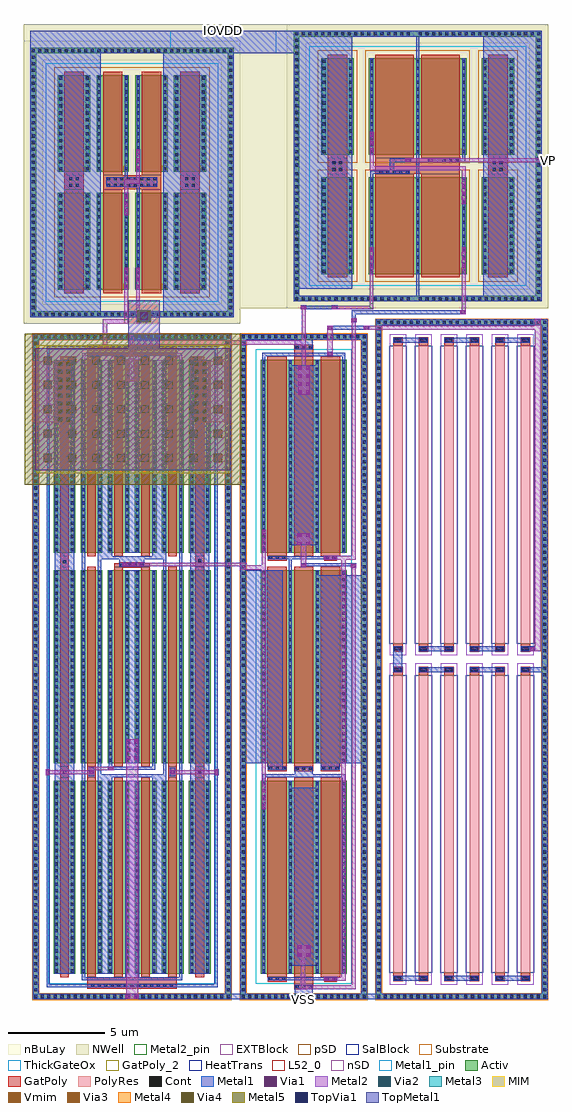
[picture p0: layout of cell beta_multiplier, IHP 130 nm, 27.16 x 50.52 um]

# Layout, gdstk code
from math import pi, radians
import gdstk
lib = gdstk.Library(unit=1e-6, precision=1e-09)
def R(c, l, rs):  # rectangles x0, y0, x1, y1
    for r in rs: c.add(gdstk.rectangle(r[:2], r[2:], *l))
def A(c, l, x, y, w, h, nx, ny, dx, dy):  # array of equal rectangles
    R(c, l, [(x+i*dx, y+j*dy, x+i*dx+w, y+j*dy+h) for i in range(nx) for j in range(ny)])
def P(c, l, *ps):  # polygons
    for p in ps: c.add(gdstk.Polygon(p, *l))
Activ = (1, 0)
GatPoly = (5, 0)
GatPoly_2 = (5, 2)
Cont = (6, 0)
nSD = (7, 0)
Metal1 = (8, 0)
Metal1_pin = (8, 2)
Metal2 = (10, 0)
Metal2_pin = (10, 2)
pSD = (14, 0)
Via1 = (19, 0)
SalBlock = (28, 0)
Via2 = (29, 0)
Metal3 = (30, 0)
NWell = (31, 0)
nBuLay = (32, 0)
MIM = (36, 0)
Substrate = (40, 0)
ThickGateOx = (44, 0)
Via3 = (49, 0)
Metal4 = (50, 0)
HeatTrans = (51, 0)
L52_0 = (52, 0)
Via4 = (66, 0)
Metal5 = (67, 0)
EXTBlock = (111, 0)
TopVia1 = (125, 0)
TopMetal1 = (126, 0)
PolyRes = (128, 0)
Vmim = (129, 0)

nmoshv_13 = lib.new_cell('nmosHV$13')
A(nmoshv_13, Activ, 0, 0, 0.3, 0.3, 4, 1, 1.38, 0)
R(nmoshv_13, Activ, [(0,0,4.44,10)])
A(nmoshv_13, GatPoly, 0.34, -0.18, 1, 10.36, 3, 1, 1.38, 0)
R(nmoshv_13, GatPoly_2, [(0.34,-0.18,1.34,10.18)])
A(nmoshv_13, Cont, 0.07, 0.07, 0.16, 0.16, 4, 4, 1.38, 0.345)
A(nmoshv_13, Cont, 0.07, 1.455, 0.16, 0.16, 4, 3, 1.38, 0.345)
A(nmoshv_13, Cont, 0.07, 2.495, 0.16, 0.16, 4, 4, 1.38, 0.345)
A(nmoshv_13, Cont, 0.07, 3.88, 0.16, 0.16, 4, 3, 1.38, 0.345)
A(nmoshv_13, Cont, 0.07, 4.92, 0.16, 0.16, 4, 4, 1.38, 0.345)
A(nmoshv_13, Cont, 0.07, 6.305, 0.16, 0.16, 4, 3, 1.38, 0.345)
A(nmoshv_13, Cont, 0.07, 7.345, 0.16, 0.16, 4, 4, 1.38, 0.345)
A(nmoshv_13, Cont, 0.07, 8.73, 0.16, 0.16, 4, 3, 1.38, 0.345)
A(nmoshv_13, Cont, 0.07, 9.77, 0.16, 0.16, 4, 1, 1.38, 0)
A(nmoshv_13, Metal1, 0.07, 0, 0.16, 10, 4, 1, 1.38, 0)
R(nmoshv_13, Metal1_pin, [(0.07,0,0.23,10), (1.45,0,1.61,10)])
R(nmoshv_13, ThickGateOx, [(-0.27,-0.52,4.71,10.52)])
A(nmoshv_13, HeatTrans, 0.34, -0.18, 1, 10.36, 3, 1, 1.38, 0)
nmoshv_13.add(gdstk.Label('nmosHV', (0.84,5), layer=63, texttype=0))
nmoshv_13.add(gdstk.Label('nmosHV', (0.84,5), layer=51, texttype=0))
nmoshv_13.add(gdstk.Label('nmosHV', (2.22,5), layer=51, texttype=0))
nmoshv_13.add(gdstk.Label('nmosHV', (3.6,5), layer=51, texttype=0))

guard_ring_26 = lib.new_cell('guard_ring$26')
R(guard_ring_26, Activ, [(-3.29,-16.92,-2.99,16.92), (2.99,-16.92,3.29,16.92), (-3.29,16.92,3.29,17.22)])
P(guard_ring_26, Activ, [(-3.29,-17.22),(-3.29,16.92),(-2.99,16.92),(-2.99,-16.92),(2.99,-16.92),(2.99,16.92),(-3.29,16.92),(-3.29,17.22),(3.29,17.22),(3.29,-17.22)])
A(guard_ring_26, Cont, -3.22, -17.15, 0.16, 0.16, 9, 2, 0.34, 34.14)
A(guard_ring_26, Cont, 0, -17.15, 0.16, 0.16, 10, 2, 0.34, 34.14)
A(guard_ring_26, Cont, -3.22, -16.81, 0.16, 0.16, 1, 49, 0, 0.34)
A(guard_ring_26, Cont, 3.06, -16.81, 0.16, 0.16, 1, 49, 0, 0.34)
A(guard_ring_26, Cont, -3.22, -0.01, 0.16, 0.16, 1, 50, 0, 0.34)
A(guard_ring_26, Cont, 3.06, -0.01, 0.16, 0.16, 1, 50, 0, 0.34)
R(guard_ring_26, Metal1, [(-3.29,-17.22,3.29,-16.92), (-3.29,-16.92,-2.99,16.92), (2.99,-16.92,3.29,16.92), (-3.29,16.92,3.29,17.22)])
R(guard_ring_26, pSD, [(-3.32,-16.89,-2.96,16.89), (2.96,-16.89,3.32,16.89), (-3.32,16.89,3.32,17.25)])
P(guard_ring_26, pSD, [(-3.32,-17.25),(-3.32,16.89),(-2.96,16.89),(-2.96,-16.89),(2.96,-16.89),(2.96,16.89),(-3.32,16.89),(-3.32,17.25),(3.32,17.25),(3.32,-17.25)])
R(guard_ring_26, Substrate, [(-3.32,-16.89,-2.96,16.89), (2.96,-16.89,3.32,16.89), (-3.32,16.89,3.32,17.25)])
P(guard_ring_26, Substrate, [(-3.32,-17.25),(-3.32,16.89),(-2.96,16.89),(-2.96,-16.89),(2.96,-16.89),(2.96,16.89),(-3.32,16.89),(-3.32,17.25),(3.32,17.25),(3.32,-17.25)])
guard_ring_26.add(gdstk.Label('sub!', (0,-17.07), layer=63, texttype=0))

via_stack_56 = lib.new_cell('via_stack$56')
R(via_stack_56, GatPoly, [(-0.49,-0.15,0.49,0.15)])
A(via_stack_56, Cont, -0.42, -0.08, 0.16, 0.16, 3, 1, 0.34, 0)
R(via_stack_56, Metal1, [(-0.47,-0.08,0.47,0.08)])

via_stack_38 = lib.new_cell('via_stack$38')
R(via_stack_38, GatPoly, [(-0.32,-0.15,0.32,0.15)])
R(via_stack_38, Cont, [(-0.25,-0.08,-0.09,0.08), (0.09,-0.08,0.25,0.08)])
R(via_stack_38, Metal1, [(-0.35,-0.105,0.35,0.105)])
R(via_stack_38, Metal2, [(-0.35,-0.1,0.35,0.1)])
R(via_stack_38, Via1, [(-0.3,-0.095,-0.11,0.095), (0.11,-0.095,0.3,0.095)])

via_stack = lib.new_cell('via_stack')
R(via_stack, Metal1, [(-0.105,-0.555,0.105,0.555)])
R(via_stack, Metal2, [(-0.1,-0.555,0.1,0.555)])
A(via_stack, Via1, -0.095, -0.505, 0.19, 0.19, 1, 3, 0, 0.41)

via_stack_3 = lib.new_cell('via_stack$3')
R(via_stack_3, Metal1, [(-0.145,-0.105,0.145,0.105)])
R(via_stack_3, Metal2, [(-0.145,-0.1,0.145,0.1)])
R(via_stack_3, Via1, [(-0.095,-0.095,0.095,0.095)])

via_stack_21 = lib.new_cell('via_stack$21')
R(via_stack_21, Metal1, [(-0.35,-0.31,0.35,0.31)])
R(via_stack_21, Metal2, [(-0.35,-0.305,0.35,0.305)])
R(via_stack_21, Via1, [(-0.3,-0.3,-0.11,-0.11), (0.11,-0.3,0.3,-0.11), (-0.3,0.11,-0.11,0.3), (0.11,0.11,0.3,0.3)])

via_stack_60 = lib.new_cell('via_stack$60')
R(via_stack_60, Metal1, [(-0.31,-0.76,0.31,0.76)])
R(via_stack_60, Metal2, [(-0.305,-0.76,0.305,0.76)])
A(via_stack_60, Via1, -0.3, -0.71, 0.19, 0.19, 1, 4, 0, 0.41)
A(via_stack_60, Via1, 0.11, -0.71, 0.19, 0.19, 1, 4, 0, 0.41)

beta_multiplier_referanc = lib.new_cell('beta_multiplier_referances')
R(beta_multiplier_referanc, GatPoly, [(-0.5,-16.695,0.5,-15.96), (-0.5,15.93,0.5,16.665)])
R(beta_multiplier_referanc, Metal1, [(-0.47,-17.25,0.47,-16.465), (-1.54,-16.24,1.2,-16.08), (-0.77,-15.485,0.77,-6.275), (-2.15,-6.235,-1.99,-5.57), (1.99,-6.235,2.15,-5.57), (-2.15,-5.72,2.15,-5.56), (-0.47,-5.72,0.47,-5.18), (-1.85,-5.34,-1.095,-4.755), (0.88,-5.34,1.87,-4.865), (-3.29,-5,-1.095,5), (0.61,-5,3.29,4.73), (-0.77,4.795,-0.61,5.72), (-0.15,5.19,2.725,5.35), (-1.54,5.56,1.2,5.72), (-0.77,6.285,0.77,15.61), (-2.15,15.565,-1.99,16.23), (1.99,15.565,2.15,16.23), (-2.15,16.08,2.15,16.24), (-0.47,16.435,0.47,17.22)])
R(beta_multiplier_referanc, Metal1_pin, [(-1.3,-17.22,1.29,-16.92)])
R(beta_multiplier_referanc, Metal2, [(-0.155,-16.7,2.705,-16.495), (-0.155,-16.7,0.07,-14.65), (2.475,-16.7,2.705,5.32), (1.45,-16.26,2.185,-16.06), (1.955,-16.26,2.185,5.74), (-2.17,-6.63,-1.97,6.74), (-3.32,5.02,-1.97,5.255), (-0.15,5.145,0.14,6.615), (1.56,5.54,2.695,5.74), (2.495,5.56,2.695,17.25), (-0.115,15.365,0.105,17.25)])
R(beta_multiplier_referanc, Metal2_pin, [(-3.32,5.02,-2.99,5.255), (2.495,17.04,2.695,17.25), (-0.115,17.045,0.105,17.25)])
r = gdstk.Reference(nmoshv_13, (-2.22,-15.9)); r.repetition = gdstk.Repetition(1, 3, v1=(0,0), v2=(0,10.9)); beta_multiplier_referanc.add(r)
beta_multiplier_referanc.add(gdstk.Reference(guard_ring_26, (0,0)))
beta_multiplier_referanc.add(gdstk.Reference(via_stack_56, (-1.38,5.64)))
beta_multiplier_referanc.add(gdstk.Reference(via_stack_38, (1.38,-16.16)))
beta_multiplier_referanc.add(gdstk.Reference(via_stack_56, (-1.38,-16.16)))
beta_multiplier_referanc.add(gdstk.Reference(via_stack_56, (0,-5.26)))
beta_multiplier_referanc.add(gdstk.Reference(via_stack_56, (1.38,-5.26)))
beta_multiplier_referanc.add(gdstk.Reference(via_stack_56, (-1.38,-5.26)))
beta_multiplier_referanc.add(gdstk.Reference(via_stack_56, (0,-16.545)))
beta_multiplier_referanc.add(gdstk.Reference(via_stack_56, (0,16.515), x_reflection=True))
beta_multiplier_referanc.add(gdstk.Reference(via_stack, (-2.07,6.545)))
beta_multiplier_referanc.add(gdstk.Reference(via_stack, (-2.07,-6.82)))
beta_multiplier_referanc.add(gdstk.Reference(via_stack_3, (2.58,5.225)))
beta_multiplier_referanc.add(gdstk.Reference(via_stack_3, (-0.005,5.245)))
beta_multiplier_referanc.add(gdstk.Reference(via_stack_21, (-0.005,6.59)))
beta_multiplier_referanc.add(gdstk.Reference(via_stack_21, (0.02,-14.705)))
beta_multiplier_referanc.add(gdstk.Reference(via_stack_38, (1.38,5.64)))
beta_multiplier_referanc.add(gdstk.Reference(via_stack_60, (-0.005,14.845)))
beta_multiplier_referanc.add(gdstk.Label('VSS', (0,-17.22), layer=8, texttype=2))
beta_multiplier_referanc.add(gdstk.Label('VR', (-3.32,5.138), layer=10, texttype=2))
beta_multiplier_referanc.add(gdstk.Label('VN', (2.595,17.25), layer=10, texttype=2))
beta_multiplier_referanc.add(gdstk.Label('VP', (0,17.25), layer=10, texttype=2))

pmoshv_7 = lib.new_cell('pmosHV$7')
R(pmoshv_7, Activ, [(0,0,0.3,0.3), (0,0,1.68,5), (1.38,0,1.68,0.3)])
R(pmoshv_7, GatPoly, [(0.34,-0.18,1.34,5.18)])
R(pmoshv_7, GatPoly_2, [(0.34,-0.18,1.34,5.18)])
A(pmoshv_7, Cont, 0.07, 0.07, 0.16, 0.16, 1, 4, 0, 0.36)
A(pmoshv_7, Cont, 1.45, 0.07, 0.16, 0.16, 1, 4, 0, 0.36)
A(pmoshv_7, Cont, 0.07, 1.515, 0.16, 0.16, 1, 3, 0, 0.36)
A(pmoshv_7, Cont, 1.45, 1.515, 0.16, 0.16, 1, 3, 0, 0.36)
A(pmoshv_7, Cont, 0.07, 2.6, 0.16, 0.16, 1, 3, 0, 0.36)
A(pmoshv_7, Cont, 1.45, 2.6, 0.16, 0.16, 1, 3, 0, 0.36)
A(pmoshv_7, Cont, 0.07, 3.685, 0.16, 0.16, 1, 3, 0, 0.36)
A(pmoshv_7, Cont, 1.45, 3.685, 0.16, 0.16, 1, 3, 0, 0.36)
R(pmoshv_7, Cont, [(0.07,4.77,0.23,4.93), (1.45,4.77,1.61,4.93)])
R(pmoshv_7, Metal1, [(0.07,0,0.23,5), (1.45,0,1.61,5)])
R(pmoshv_7, Metal1_pin, [(0.07,0,0.23,5), (1.45,0,1.61,5)])
R(pmoshv_7, pSD, [(-0.18,-0.4,1.86,5.4)])
R(pmoshv_7, NWell, [(-0.62,-0.62,2.3,5.62)])
R(pmoshv_7, Substrate, [(1.38,0,1.68,0.3)])
R(pmoshv_7, ThickGateOx, [(-0.62,-0.62,2.3,5.62)])
R(pmoshv_7, HeatTrans, [(0.34,-0.18,1.34,5.18)])
pmoshv_7.add(gdstk.Label('pmosHV', (0.84,2.5), layer=63, texttype=0))
pmoshv_7.add(gdstk.Label('pmos', (0.84,2.5), layer=51, texttype=0))

via_stack_44 = lib.new_cell('via_stack$44')
R(via_stack_44, GatPoly, [(-1.34,-0.32,1.34,0.32)])
A(via_stack_44, Cont, -1.27, -0.25, 0.16, 0.16, 8, 2, 0.34, 0.34)
R(via_stack_44, Metal1, [(-1.32,-0.25,1.32,0.25)])

guard_ring_16 = lib.new_cell('guard_ring$16')
R(guard_ring_16, Activ, [(-5.26,-6.67,-4.96,6.67), (4.96,-6.67,5.26,6.67), (-5.26,6.67,5.26,6.97)])
P(guard_ring_16, Activ, [(-5.26,-6.97),(-5.26,6.67),(-4.96,6.67),(-4.96,-6.67),(4.96,-6.67),(4.96,6.67),(-5.26,6.67),(-5.26,6.97),(5.26,6.97),(5.26,-6.97)])
A(guard_ring_16, Cont, -5.19, -6.9, 0.16, 0.16, 15, 2, 0.34, 13.64)
A(guard_ring_16, Cont, -0.07, -6.9, 0.16, 0.16, 16, 2, 0.34, 13.64)
A(guard_ring_16, Cont, -5.19, -6.56, 0.16, 0.16, 1, 19, 0, 0.34)
A(guard_ring_16, Cont, 5.03, -6.56, 0.16, 0.16, 1, 19, 0, 0.34)
A(guard_ring_16, Cont, -5.19, -0.06, 0.16, 0.16, 1, 20, 0, 0.34)
A(guard_ring_16, Cont, 5.03, -0.06, 0.16, 0.16, 1, 20, 0, 0.34)
R(guard_ring_16, Metal1, [(-5.26,-6.97,5.26,-6.67), (-5.26,-6.67,-4.96,6.67), (4.96,-6.67,5.26,6.67), (-5.26,6.67,5.26,6.97)])
R(guard_ring_16, NWell, [(-5.61,-7.32,5.61,7.32)])
R(guard_ring_16, nBuLay, [(-5.61,-6.32,-4.61,6.32), (4.61,-6.32,5.61,6.32), (-5.61,6.32,5.61,7.32)])
P(guard_ring_16, nBuLay, [(-5.61,-7.32),(-5.61,6.32),(-4.61,6.32),(-4.61,-6.32),(4.61,-6.32),(4.61,6.32),(-5.61,6.32),(-5.61,7.32),(5.61,7.32),(5.61,-7.32)])
guard_ring_16.add(gdstk.Label('well', (0,-6.82), layer=63, texttype=0))

via_stack_42 = lib.new_cell('via_stack$42')
R(via_stack_42, GatPoly, [(-0.32,-0.32,0.32,0.32)])
R(via_stack_42, Cont, [(-0.25,-0.25,-0.09,-0.09), (0.09,-0.25,0.25,-0.09), (-0.25,0.09,-0.09,0.25), (0.09,0.09,0.25,0.25)])
R(via_stack_42, Metal1, [(-0.3,-0.25,0.3,0.25)])

beta_multiplier_startup_ = lib.new_cell('beta_multiplier_startup_mirror')
R(beta_multiplier_startup_, GatPoly, [(2.5,-0.455,3.5,0.515), (-3.5,-0.37,-2.5,0.37), (-1.5,-0.37,1.5,0.37)])
R(beta_multiplier_startup_, Metal1, [(-5.26,-6.97,-1.61,6.97), (1.61,-6.97,5.26,6.97), (0.23,-0.745,0.39,-0.07), (-0.39,-0.255,-0.23,0.765), (-0.39,-0.255,0.39,-0.07)])
R(beta_multiplier_startup_, Metal1_pin, [(-1.895,6.67,2.01,6.97)])
R(beta_multiplier_startup_, Metal2, [(-0.41,-7.32,-0.21,-5.355), (0.205,-7.32,0.405,-5.08), (-0.405,-0.87,-0.205,0.15), (-0.375,-0.07,0.41,0.15), (0.21,-0.07,0.41,0.89)])
R(beta_multiplier_startup_, Metal2_pin, [(-0.41,-7.32,-0.21,-7.08), (0.205,-7.32,0.405,-7.09)])
R(beta_multiplier_startup_, pSD, [(-4.02,-5.95,4.02,5.95)])
r = gdstk.Reference(pmoshv_7, (-3.84,-5.55)); r.repetition = gdstk.Repetition(4, 2, v1=(2,0), v2=(0,6.1)); beta_multiplier_startup_.add(r)
beta_multiplier_startup_.add(gdstk.Reference(via_stack, (0.31,1.155)))
beta_multiplier_startup_.add(gdstk.Reference(via_stack, (-0.305,-1.16)))
beta_multiplier_startup_.add(gdstk.Reference(via_stack_44, (-0.015,0.02)))
beta_multiplier_startup_.add(gdstk.Reference(guard_ring_16, (0,0)))
beta_multiplier_startup_.add(gdstk.Reference(via_stack_42, (-3.01,0.01)))
beta_multiplier_startup_.add(gdstk.Reference(via_stack_42, (3,0.01)))
beta_multiplier_startup_.add(gdstk.Reference(via_stack, (-0.31,-4.98)))
beta_multiplier_startup_.add(gdstk.Reference(via_stack, (0.305,-4.98)))
beta_multiplier_startup_.add(gdstk.Label('IOVDD', (0,6.97), layer=8, texttype=2))
beta_multiplier_startup_.add(gdstk.Label('VS1', (-0.31,-7.32), layer=10, texttype=2))
beta_multiplier_startup_.add(gdstk.Label('VS2', (0.305,-7.32), layer=10, texttype=2))

guard_ring_22 = lib.new_cell('guard_ring$22')
R(guard_ring_22, Activ, [(-5.135,-16.92,-4.835,16.92), (4.835,-16.92,5.135,16.92), (-5.135,16.92,5.135,17.22)])
P(guard_ring_22, Activ, [(-5.135,-17.22),(-5.135,16.92),(-4.835,16.92),(-4.835,-16.92),(4.835,-16.92),(4.835,16.92),(-5.135,16.92),(-5.135,17.22),(5.135,17.22),(5.135,-17.22)])
A(guard_ring_22, Cont, -5.065, -17.15, 0.16, 0.16, 15, 2, 0.34, 34.14)
A(guard_ring_22, Cont, 0.145, -17.15, 0.16, 0.16, 15, 2, 0.34, 34.14)
A(guard_ring_22, Cont, -5.065, -16.81, 0.16, 0.16, 1, 49, 0, 0.34)
A(guard_ring_22, Cont, 4.905, -16.81, 0.16, 0.16, 1, 49, 0, 0.34)
A(guard_ring_22, Cont, -5.065, -0.01, 0.16, 0.16, 1, 50, 0, 0.34)
A(guard_ring_22, Cont, 4.905, -0.01, 0.16, 0.16, 1, 50, 0, 0.34)
R(guard_ring_22, Metal1, [(-5.135,-17.22,5.135,-16.92), (-5.135,-16.92,-4.835,16.92), (4.835,-16.92,5.135,16.92), (-5.135,16.92,5.135,17.22)])
R(guard_ring_22, pSD, [(-5.165,-16.89,-4.805,16.89), (4.805,-16.89,5.165,16.89), (-5.165,16.89,5.165,17.25)])
P(guard_ring_22, pSD, [(-5.165,-17.25),(-5.165,16.89),(-4.805,16.89),(-4.805,-16.89),(4.805,-16.89),(4.805,16.89),(-5.165,16.89),(-5.165,17.25),(5.165,17.25),(5.165,-17.25)])
R(guard_ring_22, Substrate, [(-5.165,-16.89,-4.805,16.89), (4.805,-16.89,5.165,16.89), (-5.165,16.89,5.165,17.25)])
P(guard_ring_22, Substrate, [(-5.165,-17.25),(-5.165,16.89),(-4.805,16.89),(-4.805,-16.89),(4.805,-16.89),(4.805,16.89),(-5.165,16.89),(-5.165,17.25),(5.165,17.25),(5.165,-17.25)])
guard_ring_22.add(gdstk.Label('sub!', (0,-17.07), layer=63, texttype=0))

via_stack_43 = lib.new_cell('via_stack$43')
R(via_stack_43, GatPoly, [(-0.66,-0.15,0.66,0.15)])
A(via_stack_43, Cont, -0.59, -0.08, 0.16, 0.16, 4, 1, 0.34, 0)
R(via_stack_43, Metal1, [(-0.64,-0.08,0.64,0.08)])

via_stack_55 = lib.new_cell('via_stack$55')
R(via_stack_55, GatPoly, [(-2.19,-0.15,2.19,0.15)])
A(via_stack_55, Cont, -2.12, -0.08, 0.16, 0.16, 13, 1, 0.34, 0)
R(via_stack_55, Metal1, [(-2.17,-0.08,2.17,0.08)])

via_stack_6 = lib.new_cell('via_stack$6')
R(via_stack_6, Metal1, [(-0.35,-0.105,0.35,0.105)])
R(via_stack_6, Metal2, [(-0.35,-0.1,0.35,0.1)])
R(via_stack_6, Via1, [(-0.3,-0.095,-0.11,0.095), (0.11,-0.095,0.3,0.095)])

via_stack_52 = lib.new_cell('via_stack$52')
R(via_stack_52, Metal1, [(-0.555,-0.105,0.555,0.105)])
R(via_stack_52, Metal2, [(-0.555,-0.1,0.555,0.1)])
A(via_stack_52, Via1, -0.505, -0.095, 0.19, 0.19, 3, 1, 0.41, 0)

via_stack_40 = lib.new_cell('via_stack$40')
R(via_stack_40, Metal1, [(-0.31,-0.555,0.31,0.555)])
R(via_stack_40, Metal2, [(-0.305,-0.555,0.305,0.555)])
A(via_stack_40, Via1, -0.3, -0.505, 0.19, 0.19, 1, 3, 0, 0.41)
A(via_stack_40, Via1, 0.11, -0.505, 0.19, 0.19, 1, 3, 0, 0.41)

nmoshv_17 = lib.new_cell('nmosHV$17')
R(nmoshv_17, Activ, [(0,0,0.3,0.3), (0,0,1.13,10), (0.83,0,1.13,0.3)])
R(nmoshv_17, GatPoly, [(0.34,-0.18,0.79,10.18)])
R(nmoshv_17, GatPoly_2, [(0.34,-0.18,0.79,10.18)])
A(nmoshv_17, Cont, 0.07, 0.07, 0.16, 0.16, 1, 4, 0, 0.345)
A(nmoshv_17, Cont, 0.9, 0.07, 0.16, 0.16, 1, 4, 0, 0.345)
A(nmoshv_17, Cont, 0.07, 1.455, 0.16, 0.16, 1, 3, 0, 0.345)
A(nmoshv_17, Cont, 0.9, 1.455, 0.16, 0.16, 1, 3, 0, 0.345)
A(nmoshv_17, Cont, 0.07, 2.495, 0.16, 0.16, 1, 4, 0, 0.345)
A(nmoshv_17, Cont, 0.9, 2.495, 0.16, 0.16, 1, 4, 0, 0.345)
A(nmoshv_17, Cont, 0.07, 3.88, 0.16, 0.16, 1, 3, 0, 0.345)
A(nmoshv_17, Cont, 0.9, 3.88, 0.16, 0.16, 1, 3, 0, 0.345)
A(nmoshv_17, Cont, 0.07, 4.92, 0.16, 0.16, 1, 4, 0, 0.345)
A(nmoshv_17, Cont, 0.9, 4.92, 0.16, 0.16, 1, 4, 0, 0.345)
A(nmoshv_17, Cont, 0.07, 6.305, 0.16, 0.16, 1, 3, 0, 0.345)
A(nmoshv_17, Cont, 0.9, 6.305, 0.16, 0.16, 1, 3, 0, 0.345)
A(nmoshv_17, Cont, 0.07, 7.345, 0.16, 0.16, 1, 4, 0, 0.345)
A(nmoshv_17, Cont, 0.9, 7.345, 0.16, 0.16, 1, 4, 0, 0.345)
A(nmoshv_17, Cont, 0.07, 8.73, 0.16, 0.16, 1, 3, 0, 0.345)
A(nmoshv_17, Cont, 0.9, 8.73, 0.16, 0.16, 1, 3, 0, 0.345)
R(nmoshv_17, Cont, [(0.07,9.77,0.23,9.93), (0.9,9.77,1.06,9.93)])
R(nmoshv_17, Metal1, [(0.07,0,0.23,10), (0.9,0,1.06,10)])
R(nmoshv_17, Metal1_pin, [(0.07,0,0.23,10), (0.9,0,1.06,10)])
R(nmoshv_17, ThickGateOx, [(-0.27,-0.52,1.4,10.52)])
R(nmoshv_17, HeatTrans, [(0.34,-0.18,0.79,10.18)])
nmoshv_17.add(gdstk.Label('nmosHV', (0.565,5), layer=63, texttype=0))
nmoshv_17.add(gdstk.Label('nmosHV', (0.565,5), layer=51, texttype=0))

via_stack_59 = lib.new_cell('via_stack$59')
R(via_stack_59, Metal1, [(-0.31,-1.58,0.31,1.58)])
R(via_stack_59, Metal2, [(-0.305,-1.58,0.305,1.58)])
A(via_stack_59, Via1, -0.3, -1.53, 0.19, 0.19, 1, 8, 0, 0.41)
A(via_stack_59, Via1, 0.11, -1.53, 0.19, 0.19, 1, 8, 0, 0.41)
A(via_stack_59, Via2, -0.3, -1.53, 0.19, 0.19, 1, 8, 0, 0.41)
A(via_stack_59, Via2, 0.11, -1.53, 0.19, 0.19, 1, 8, 0, 0.41)
R(via_stack_59, Metal3, [(-0.305,-1.58,0.305,1.58)])
A(via_stack_59, Via3, -0.3, -1.53, 0.19, 0.19, 1, 8, 0, 0.41)
A(via_stack_59, Via3, 0.11, -1.53, 0.19, 0.19, 1, 8, 0, 0.41)
R(via_stack_59, Metal4, [(-0.305,-1.58,0.305,1.58)])
A(via_stack_59, Via4, -0.3, -1.53, 0.19, 0.19, 1, 8, 0, 0.41)
A(via_stack_59, Via4, 0.11, -1.53, 0.19, 0.19, 1, 8, 0, 0.41)
R(via_stack_59, Metal5, [(-0.305,-1.58,0.305,1.58)])

via_stack_57 = lib.new_cell('via_stack$57')
R(via_stack_57, Metal1, [(-0.105,-1.58,0.105,1.58)])
R(via_stack_57, Metal2, [(-0.1,-1.58,0.1,1.58)])
A(via_stack_57, Via1, -0.095, -1.53, 0.19, 0.19, 1, 8, 0, 0.41)

via_stack_58 = lib.new_cell('via_stack$58')
R(via_stack_58, GatPoly, [(-0.15,-0.15,0.15,0.15)])
R(via_stack_58, Cont, [(-0.08,-0.08,0.08,0.08)])
R(via_stack_58, Metal1, [(-0.13,-0.08,0.13,0.08)])

c_beta_multiplier_startup_ = lib.new_cell('beta_multiplier_startup_enable')
R(c_beta_multiplier_startup_, GatPoly, [(-2.325,-16.655,2.325,-16.08), (-3.725,-5.875,-3.275,-5.085), (3.275,-5.875,3.725,-5.085), (-2.325,-5.83,-1.875,-5.06), (1.875,-5.805,2.325,-5.13), (-3.725,5.015,-3.275,5.805), (3.275,5.045,3.725,5.835), (-0.925,5.18,0.925,5.36), (-2.325,16.08,2.325,16.655)])
R(c_beta_multiplier_startup_, Metal1, [(-4.425,-16.585,-4.265,16.585), (-4.425,-16.585,-1.645,-16.425), (1.645,-16.585,4.425,-16.425), (4.265,-16.585,4.425,16.585), (-2.595,-16.24,2.595,-16.08), (-2.595,-16.24,-2.435,-15.205), (-0.365,-16.24,0.365,-5.9), (2.435,-16.24,2.595,-15.16), (-3.995,-15.9,-3.005,15.9), (-1.765,-15.9,-1.035,-5.9), (1.035,-15.9,1.765,-5.9), (3.005,-15.9,3.995,15.9), (-2.595,-8.825,-2.435,6.05), (1.605,-8.825,1.765,7.165), (2.435,-8.825,2.595,7.165), (-1.765,-6.86,-1.605,6.09), (1.035,-6.19,1.765,-5.56), (-1.765,-6.15,-1.035,-5.56), (-1.765,-5.72,1.765,-5.56), (-2.245,-5.675,-1.955,-5.24), (1.955,-5.675,2.245,-5.24), (-1.195,-5.34,1.195,-5.18), (-1.195,-5.34,-1.035,-4.63), (1.035,-5.34,1.195,-4.58), (-0.365,-5,0.365,5), (-0.655,5.205,0.625,5.68), (-1.765,5.56,1.765,5.72), (-1.765,5.56,-1.035,6.15), (1.035,5.56,1.765,6.19), (-1.765,5.9,-1.035,15.9), (-0.365,5.9,0.365,16.24), (1.035,5.9,1.765,15.9), (2.435,15.16,2.595,16.24), (-2.595,15.205,-2.435,16.24), (-2.595,16.08,2.595,16.24), (-4.425,16.425,-2.05,16.585), (2.05,16.425,4.425,16.585)])
R(c_beta_multiplier_startup_, Metal1_pin, [(-1.695,-17.22,1.915,-16.92)])
R(c_beta_multiplier_startup_, Metal2, [(-0.295,-17.22,0.315,-4.415), (-4.425,-5.56,-2.185,-5.36), (2.185,-5.56,4.425,-5.36), (-2.245,-5.365,-1.075,-5.165), (0.505,5.19,5.165,5.39), (-5.135,12.66,-3.21,15.82), (3.235,12.66,5.16,15.82), (-0.12,15.635,0.1,17.25), (-1.505,16.425,-1.285,17.25)])
R(c_beta_multiplier_startup_, Metal2_pin, [(4.87,5.19,5.165,5.39), (-1.505,17,-1.285,17.25), (-0.12,17,0.1,17.25)])
c_beta_multiplier_startup_.add(gdstk.Reference(guard_ring_22, (0,0)))
c_beta_multiplier_startup_.add(gdstk.Reference(via_stack_43, (-0.015,5.26)))
c_beta_multiplier_startup_.add(gdstk.Reference(via_stack_55, (-0.005,16.505)))
c_beta_multiplier_startup_.add(gdstk.Reference(via_stack_55, (-0.005,-16.505), x_reflection=True))
c_beta_multiplier_startup_.add(gdstk.Reference(via_stack_3, (2.1,-5.46)))
c_beta_multiplier_startup_.add(gdstk.Reference(via_stack_3, (4.37,-5.46), rotation=3*pi/2))
c_beta_multiplier_startup_.add(gdstk.Reference(via_stack_3, (-2.1,-5.46), rotation=pi, x_reflection=True))
c_beta_multiplier_startup_.add(gdstk.Reference(via_stack_3, (-4.37,-5.46), rotation=3*pi/2, x_reflection=True))
c_beta_multiplier_startup_.add(gdstk.Reference(via_stack_3, (-1.105,-5.265)))
c_beta_multiplier_startup_.add(gdstk.Reference(via_stack_6, (-1.395,16.535)))
c_beta_multiplier_startup_.add(gdstk.Reference(via_stack_52, (0.035,5.29)))
c_beta_multiplier_startup_.add(gdstk.Reference(via_stack_40, (0.01,-4.31)))
c_beta_multiplier_startup_.add(gdstk.Reference(via_stack_6, (0.005,-17.065)))
c_beta_multiplier_startup_.add(gdstk.Reference(via_stack_40, (-0.01,15.32)))
r = gdstk.Reference(nmoshv_17, (-4.065,-15.9)); r.repetition = gdstk.Repetition(6, 3, v1=(1.4,0), v2=(0,10.9)); c_beta_multiplier_startup_.add(r)
c_beta_multiplier_startup_.add(gdstk.Reference(via_stack_59, (-3.515,14.24)))
c_beta_multiplier_startup_.add(gdstk.Reference(via_stack_57, (-4.97,14.24)))
c_beta_multiplier_startup_.add(gdstk.Reference(via_stack_59, (3.54,14.24), rotation=pi, x_reflection=True))
c_beta_multiplier_startup_.add(gdstk.Reference(via_stack_57, (4.995,14.24), rotation=pi, x_reflection=True))
c_beta_multiplier_startup_.add(gdstk.Reference(via_stack_58, (3.505,5.47)))
c_beta_multiplier_startup_.add(gdstk.Reference(via_stack_58, (3.505,-5.45)))
c_beta_multiplier_startup_.add(gdstk.Reference(via_stack_58, (-3.495,-5.45)))
c_beta_multiplier_startup_.add(gdstk.Reference(via_stack_58, (-3.495,5.44)))
c_beta_multiplier_startup_.add(gdstk.Label('VSS', (0,-17.22), layer=8, texttype=2))
c_beta_multiplier_startup_.add(gdstk.Label('VS1', (-1.395,17.25), layer=10, texttype=2))
c_beta_multiplier_startup_.add(gdstk.Label('VR', (5.165,5.29), layer=10, texttype=2))
c_beta_multiplier_startup_.add(gdstk.Label('VP', (-0.01,17.25), layer=10, texttype=2))

cmim_6 = lib.new_cell('cmim$6')
R(cmim_6, MIM, [(0,0,10,6.63)])
R(cmim_6, Metal5, [(-0.6,-0.6,10.6,7.23)])
R(cmim_6, TopMetal1, [(-0.04,0.165,10.04,6.465)])
A(cmim_6, Vmim, 0.38, 0.585, 0.42, 0.42, 8, 5, 1.26, 1.26)

via_stack_26 = lib.new_cell('via_stack$26')
R(via_stack_26, Metal2, [(-0.35,-0.305,0.35,0.305)])
R(via_stack_26, Via2, [(-0.3,-0.3,-0.11,-0.11), (0.11,-0.3,0.3,-0.11), (-0.3,0.11,-0.11,0.3), (0.11,0.11,0.3,0.3)])
R(via_stack_26, Metal3, [(-0.35,-0.305,0.35,0.305)])
R(via_stack_26, Via3, [(-0.3,-0.3,-0.11,-0.11), (0.11,-0.3,0.3,-0.11), (-0.3,0.11,-0.11,0.3), (0.11,0.11,0.3,0.3)])
R(via_stack_26, Metal4, [(-0.35,-0.305,0.35,0.305)])
R(via_stack_26, Via4, [(-0.3,-0.3,-0.11,-0.11), (0.11,-0.3,0.3,-0.11), (-0.3,0.11,-0.11,0.3), (0.11,0.11,0.3,0.3)])
R(via_stack_26, Metal5, [(-0.35,-0.31,0.35,0.31)])
R(via_stack_26, TopVia1, [(-0.21,-0.21,0.21,0.21)])
R(via_stack_26, TopMetal1, [(-0.82,-0.82,0.82,0.82)])

beta_multiplier_startup = lib.new_cell('beta_multiplier_startup')
R(beta_multiplier_startup, Metal1_pin, [(-0.655,14.24,0.725,14.54)])
R(beta_multiplier_startup, Metal2, [(-0.125,-0.845,5.165,-0.61), (-1.505,-0.62,-1.285,0.49), (-1.505,0.25,-0.21,0.49)])
R(beta_multiplier_startup, Metal2_pin, [(4.855,-0.845,5.165,-0.61)])
R(beta_multiplier_startup, TopMetal1, [(-0.2,-1.675,1.44,0.135)])
beta_multiplier_startup.add(gdstk.Reference(beta_multiplier_startup_, (0,7.57)))
beta_multiplier_startup.add(gdstk.Reference(c_beta_multiplier_startup_, (0,-17.5)))
beta_multiplier_startup.add(gdstk.Reference(cmim_6, (-4.96,-7.49)))
beta_multiplier_startup.add(gdstk.Reference(via_stack_26, (0.62,0.64)))
beta_multiplier_startup.add(gdstk.Label('IOVDD', (0,14.54), layer=8, texttype=2))
beta_multiplier_startup.add(gdstk.Label('VSS', (0.005,-34.72), layer=8, texttype=2))
beta_multiplier_startup.add(gdstk.Label('VR', (5.165,-12.21), layer=10, texttype=2))
beta_multiplier_startup.add(gdstk.Label('VP', (5.165,-0.728), layer=10, texttype=2))

pmoshv_9 = lib.new_cell('pmosHV$9')
A(pmoshv_9, Activ, 0, 0, 0.3, 0.3, 3, 1, 2.38, 0)
R(pmoshv_9, Activ, [(0,0,5.06,5)])
R(pmoshv_9, GatPoly, [(0.34,-0.18,2.34,5.18), (2.72,-0.18,4.72,5.18)])
R(pmoshv_9, GatPoly_2, [(0.34,-0.18,2.34,5.18)])
A(pmoshv_9, Cont, 0.07, 0.07, 0.16, 0.16, 3, 4, 2.38, 0.36)
A(pmoshv_9, Cont, 0.07, 1.515, 0.16, 0.16, 3, 3, 2.38, 0.36)
A(pmoshv_9, Cont, 0.07, 2.6, 0.16, 0.16, 3, 3, 2.38, 0.36)
A(pmoshv_9, Cont, 0.07, 3.685, 0.16, 0.16, 3, 3, 2.38, 0.36)
A(pmoshv_9, Cont, 0.07, 4.77, 0.16, 0.16, 3, 1, 2.38, 0)
A(pmoshv_9, Metal1, 0.07, 0, 0.16, 5, 3, 1, 2.38, 0)
R(pmoshv_9, Metal1_pin, [(0.07,0,0.23,5), (2.45,0,2.61,5)])
R(pmoshv_9, pSD, [(-0.18,-0.4,5.24,5.4)])
R(pmoshv_9, NWell, [(-0.62,-0.62,5.68,5.62)])
R(pmoshv_9, Substrate, [(4.76,0,5.06,0.3)])
R(pmoshv_9, ThickGateOx, [(-0.62,-0.62,5.68,5.62)])
R(pmoshv_9, HeatTrans, [(0.34,-0.18,2.34,5.18), (2.72,-0.18,4.72,5.18)])
pmoshv_9.add(gdstk.Label('pmosHV', (1.34,2.5), layer=63, texttype=0))
pmoshv_9.add(gdstk.Label('pmos', (1.34,2.5), layer=51, texttype=0))
pmoshv_9.add(gdstk.Label('pmos', (3.72,2.5), layer=51, texttype=0))

pmoshv_4 = lib.new_cell('pmosHV$4')
R(pmoshv_4, Activ, [(0,0,0.3,0.3), (0,0,1.68,5), (1.38,0,1.68,0.3)])
R(pmoshv_4, GatPoly, [(0.34,-0.18,1.34,5.18)])
R(pmoshv_4, GatPoly_2, [(0.34,-0.18,1.34,5.18)])
A(pmoshv_4, Cont, 0.07, 0.07, 0.16, 0.16, 1, 4, 0, 0.36)
A(pmoshv_4, Cont, 1.45, 0.07, 0.16, 0.16, 1, 4, 0, 0.36)
A(pmoshv_4, Cont, 0.07, 1.515, 0.16, 0.16, 1, 3, 0, 0.36)
A(pmoshv_4, Cont, 1.45, 1.515, 0.16, 0.16, 1, 3, 0, 0.36)
A(pmoshv_4, Cont, 0.07, 2.6, 0.16, 0.16, 1, 3, 0, 0.36)
A(pmoshv_4, Cont, 1.45, 2.6, 0.16, 0.16, 1, 3, 0, 0.36)
A(pmoshv_4, Cont, 0.07, 3.685, 0.16, 0.16, 1, 3, 0, 0.36)
A(pmoshv_4, Cont, 1.45, 3.685, 0.16, 0.16, 1, 3, 0, 0.36)
R(pmoshv_4, Cont, [(0.07,4.77,0.23,4.93), (1.45,4.77,1.61,4.93)])
R(pmoshv_4, Metal1, [(0.07,0,0.23,5), (1.45,0,1.61,5)])
R(pmoshv_4, Metal1_pin, [(0.07,0,0.23,5), (1.45,0,1.61,5)])
R(pmoshv_4, pSD, [(-0.18,-0.4,1.86,5.4)])
R(pmoshv_4, NWell, [(-0.62,-0.62,2.3,5.62)])
R(pmoshv_4, Substrate, [(1.38,0,1.68,0.3)])
R(pmoshv_4, ThickGateOx, [(-0.62,-0.62,2.3,5.62)])
R(pmoshv_4, HeatTrans, [(0.34,-0.18,1.34,5.18)])
pmoshv_4.add(gdstk.Label('pmosHV', (0.84,2.5), layer=63, texttype=0))
pmoshv_4.add(gdstk.Label('pmos', (0.84,2.5), layer=51, texttype=0))

guard_ring_24 = lib.new_cell('guard_ring$24')
R(guard_ring_24, Activ, [(-6.415,-6.705,-6.115,6.705), (6.115,-6.705,6.415,6.705), (-6.415,6.705,6.415,7.005)])
P(guard_ring_24, Activ, [(-6.415,-7.005),(-6.415,6.705),(-6.115,6.705),(-6.115,-6.705),(6.115,-6.705),(6.115,6.705),(-6.415,6.705),(-6.415,7.005),(6.415,7.005),(6.415,-7.005)])
A(guard_ring_24, Cont, -6.345, -6.935, 0.16, 0.16, 18, 2, 0.34, 13.71)
A(guard_ring_24, Cont, 0.065, -6.935, 0.16, 0.16, 19, 2, 0.34, 13.71)
A(guard_ring_24, Cont, -6.345, -6.595, 0.16, 0.16, 1, 19, 0, 0.34)
A(guard_ring_24, Cont, 6.185, -6.595, 0.16, 0.16, 1, 19, 0, 0.34)
A(guard_ring_24, Cont, -6.345, -0.025, 0.16, 0.16, 1, 20, 0, 0.34)
A(guard_ring_24, Cont, 6.185, -0.025, 0.16, 0.16, 1, 20, 0, 0.34)
R(guard_ring_24, Metal1, [(-6.415,-7.005,6.415,-6.705), (-6.415,-6.705,-6.115,6.705), (6.115,-6.705,6.415,6.705), (-6.415,6.705,6.415,7.005)])
R(guard_ring_24, NWell, [(-6.765,-7.355,6.765,7.355)])
R(guard_ring_24, nBuLay, [(-6.765,-6.355,-5.765,6.355), (5.765,-6.355,6.765,6.355), (-6.765,6.355,6.765,7.355)])
P(guard_ring_24, nBuLay, [(-6.765,-7.355),(-6.765,6.355),(-5.765,6.355),(-5.765,-6.355),(5.765,-6.355),(5.765,6.355),(-6.765,6.355),(-6.765,7.355),(6.765,7.355),(6.765,-7.355)])
guard_ring_24.add(gdstk.Label('well', (0,-6.855), layer=63, texttype=0))

via_stack_5 = lib.new_cell('via_stack$5')
R(via_stack_5, GatPoly, [(-0.83,-0.15,0.83,0.15)])
A(via_stack_5, Cont, -0.76, -0.08, 0.16, 0.16, 5, 1, 0.34, 0)
R(via_stack_5, Metal1, [(-0.81,-0.08,0.81,0.08)])

beta_multiplier_mirror = lib.new_cell('beta_multiplier_mirror')
R(beta_multiplier_mirror, GatPoly, [(3.655,-0.81,4.655,0.57), (-4.655,-0.575,-3.655,0.56), (-2.19,-0.405,2.19,0.405)])
R(beta_multiplier_mirror, Metal1, [(-0.08,-7.005,0.08,7.005), (3.385,-7.005,6.415,7.005), (-6.415,-6.355,-3.385,7.005), (-2.46,-0.775,-2.3,-0.245), (-2.46,-0.405,-1.825,-0.245), (-1.44,-0.405,-1.22,0.405), (-1.44,0.195,-0.575,0.405), (0.755,0.195,2.46,0.405), (1.79,0.245,2.46,0.405), (2.3,0.245,2.46,0.64)])
R(beta_multiplier_mirror, Metal1_pin, [(-1.975,6.705,1.935,7.005)])
R(beta_multiplier_mirror, Metal2, [(-2.485,-7.355,-2.285,-5.025), (2.285,-7.355,2.485,-5.025), (2.285,-1.155,2.485,-0.015), (-2.48,-0.215,2.485,-0.015), (-2.48,-0.215,-2.28,0.825), (-0.63,0.2,0.825,0.4)])
R(beta_multiplier_mirror, Metal2_pin, [(-2.485,-7.355,-2.285,-7.1), (2.285,-7.355,2.485,-7.135)])
beta_multiplier_mirror.add(gdstk.Reference(pmoshv_9, (-2.53,0.585)))
beta_multiplier_mirror.add(gdstk.Reference(pmoshv_9, (-2.53,-5.585)))
beta_multiplier_mirror.add(gdstk.Reference(pmoshv_4, (3.315,-5.585)))
beta_multiplier_mirror.add(gdstk.Reference(pmoshv_4, (-4.995,0.585)))
beta_multiplier_mirror.add(gdstk.Reference(pmoshv_7, (-4.995,-5.585)))
beta_multiplier_mirror.add(gdstk.Reference(pmoshv_7, (3.315,0.585)))
beta_multiplier_mirror.add(gdstk.Reference(guard_ring_24, (0,0)))
beta_multiplier_mirror.add(gdstk.Reference(via_stack_42, (4.145,-0.005)))
beta_multiplier_mirror.add(gdstk.Reference(via_stack_42, (-4.16,-0.005)))
beta_multiplier_mirror.add(gdstk.Reference(via_stack_5, (-1.215,-0.325)))
beta_multiplier_mirror.add(gdstk.Reference(via_stack_56, (1.705,0.325)))
beta_multiplier_mirror.add(gdstk.Reference(via_stack_3, (0.68,0.3)))
beta_multiplier_mirror.add(gdstk.Reference(via_stack_3, (-0.485,0.3)))
beta_multiplier_mirror.add(gdstk.Reference(via_stack, (2.385,-1.425)))
beta_multiplier_mirror.add(gdstk.Reference(via_stack, (-2.38,1.23)))
beta_multiplier_mirror.add(gdstk.Reference(via_stack, (2.385,-4.76)))
beta_multiplier_mirror.add(gdstk.Reference(via_stack, (-2.385,-4.76)))
beta_multiplier_mirror.add(gdstk.Label('IOVDD', (0,7.005), layer=8, texttype=2))
beta_multiplier_mirror.add(gdstk.Label('VP', (-2.385,-7.355), layer=10, texttype=2))
beta_multiplier_mirror.add(gdstk.Label('VN', (2.385,-7.355), layer=10, texttype=2))

rhigh = lib.new_cell('rhigh')
A(rhigh, GatPoly, 0, -0.43, 0.5, 0.43, 6, 2, 1.32, 15.84)
A(rhigh, Cont, 0.07, -0.36, 0.36, 0.16, 6, 2, 1.32, 15.97)
A(rhigh, nSD, -0.18, -0.61, 0.86, 0.79, 6, 2, 1.32, 15.84)
R(rhigh, nSD, [(-0.18,0,0.68,15.41), (-0.18,0,0.68,15.41), (1.14,0,2,15.41), (1.14,0,2,15.41), (2.46,0,3.32,15.41), (2.46,0,3.32,15.41), (3.78,0,4.64,15.41), (3.78,0,4.64,15.41), (5.1,0,5.96,15.41), (5.1,0,5.96,15.41), (6.42,0,7.28,15.41), (6.42,0,7.28,15.41)])
A(rhigh, Metal1, 0.02, -0.41, 0.46, 0.26, 6, 2, 1.32, 15.97)
A(rhigh, Metal1, 0.02, 15.56, 1.78, 0.26, 3, 1, 2.64, 0)
R(rhigh, Metal1, [(1.34,-0.41,3.12,-0.15), (3.98,-0.41,5.76,-0.15)])
A(rhigh, Metal1_pin, 0.02, -0.41, 0.46, 0.26, 6, 2, 1.32, 15.97)
A(rhigh, pSD, -0.18, -0.61, 0.86, 0.79, 6, 2, 1.32, 15.84)
R(rhigh, pSD, [(-0.18,0,0.68,15.41), (-0.18,0,0.68,15.41), (1.14,0,2,15.41), (1.14,0,2,15.41), (2.46,0,3.32,15.41), (2.46,0,3.32,15.41), (3.78,0,4.64,15.41), (3.78,0,4.64,15.41), (5.1,0,5.96,15.41), (5.1,0,5.96,15.41), (6.42,0,7.28,15.41), (6.42,0,7.28,15.41)])
A(rhigh, SalBlock, -0.2, 0, 0.9, 15.41, 6, 1, 1.32, 0)
A(rhigh, L52_0, 0, 0, 0.5, 15.41, 6, 1, 1.32, 0)
A(rhigh, EXTBlock, -0.18, -0.61, 0.86, 0.79, 6, 2, 1.32, 15.84)
A(rhigh, EXTBlock, -0.2, 0, 0.9, 15.41, 6, 1, 1.32, 0)
A(rhigh, PolyRes, 0, 0, 0.5, 15.41, 6, 1, 1.32, 0)
rhigh.add(gdstk.Label('rhigh r=45880.000', (0.25,7.705), layer=63, texttype=0))
rhigh.add(gdstk.Label('rhigh r=45880.000', (0.25,7.705), layer=63, texttype=0))
rhigh.add(gdstk.Label('rhigh r=45880.000', (0.25,7.705), layer=63, texttype=0))
rhigh.add(gdstk.Label('rhigh r=45880.000', (0.25,7.705), layer=63, texttype=0))
rhigh.add(gdstk.Label('rhigh r=45880.000', (0.25,7.705), layer=63, texttype=0))
rhigh.add(gdstk.Label('rhigh r=45880.000', (0.25,7.705), layer=63, texttype=0))
rhigh.add(gdstk.Label('rhigh', (0.25,7.705), layer=52, texttype=0))
rhigh.add(gdstk.Label('rhigh', (1.57,7.705), layer=52, texttype=0))
rhigh.add(gdstk.Label('rhigh', (2.89,7.705), layer=52, texttype=0))
rhigh.add(gdstk.Label('rhigh', (4.21,7.705), layer=52, texttype=0))
rhigh.add(gdstk.Label('rhigh', (5.53,7.705), layer=52, texttype=0))
rhigh.add(gdstk.Label('rhigh', (6.85,7.705), layer=52, texttype=0))

guard_ring_28 = lib.new_cell('guard_ring$28')
R(guard_ring_28, Activ, [(-4.45,-17.3,-4.15,17.3), (4.15,-17.3,4.45,17.3), (-4.45,17.3,4.45,17.6)])
P(guard_ring_28, Activ, [(-4.45,-17.6),(-4.45,17.3),(-4.15,17.3),(-4.15,-17.3),(4.15,-17.3),(4.15,17.3),(-4.45,17.3),(-4.45,17.6),(4.45,17.6),(4.45,-17.6)])
A(guard_ring_28, Cont, -4.38, -17.53, 0.16, 0.16, 13, 2, 0.34, 34.9)
A(guard_ring_28, Cont, 0.14, -17.53, 0.16, 0.16, 13, 2, 0.34, 34.9)
A(guard_ring_28, Cont, -4.38, -17.19, 0.16, 0.16, 1, 50, 0, 0.34)
A(guard_ring_28, Cont, 4.22, -17.19, 0.16, 0.16, 1, 50, 0, 0.34)
A(guard_ring_28, Cont, -4.38, 0.03, 0.16, 0.16, 1, 51, 0, 0.34)
A(guard_ring_28, Cont, 4.22, 0.03, 0.16, 0.16, 1, 51, 0, 0.34)
R(guard_ring_28, Metal1, [(-4.45,-17.6,4.45,-17.3), (-4.45,-17.3,-4.15,17.3), (4.15,-17.3,4.45,17.3), (-4.45,17.3,4.45,17.6)])
R(guard_ring_28, pSD, [(-4.48,-17.27,-4.12,17.27), (4.12,-17.27,4.48,17.27), (-4.48,17.27,4.48,17.63)])
P(guard_ring_28, pSD, [(-4.48,-17.63),(-4.48,17.27),(-4.12,17.27),(-4.12,-17.27),(4.12,-17.27),(4.12,17.27),(-4.48,17.27),(-4.48,17.63),(4.48,17.63),(4.48,-17.63)])
R(guard_ring_28, Substrate, [(-4.48,-17.27,-4.12,17.27), (4.12,-17.27,4.48,17.27), (-4.48,17.27,4.48,17.63)])
P(guard_ring_28, Substrate, [(-4.48,-17.63),(-4.48,17.27),(-4.12,17.27),(-4.12,-17.27),(4.12,-17.27),(4.12,17.27),(-4.48,17.27),(-4.48,17.63),(4.48,17.63),(4.48,-17.63)])
guard_ring_28.add(gdstk.Label('sub!', (0,-17.45), layer=63, texttype=0))

beta_multiplier_resistor = lib.new_cell('beta_multiplier_resistor')
R(beta_multiplier_resistor, Metal1, [(-3.53,-0.67,-3.07,0.67), (3.07,-0.67,4.45,-0.41), (3.07,0.41,3.82,0.67)])
R(beta_multiplier_resistor, Metal1_pin, [(-1.91,-17.6,1.88,-17.3)])
R(beta_multiplier_resistor, Metal2, [(3.79,0.41,4.08,17.63)])
R(beta_multiplier_resistor, Metal2_pin, [(3.79,17.3,4.08,17.63)])
beta_multiplier_resistor.add(gdstk.Reference(rhigh, (-3.55,0.82)))
beta_multiplier_resistor.add(gdstk.Reference(rhigh, (-3.55,-0.82), x_reflection=True))
beta_multiplier_resistor.add(gdstk.Reference(guard_ring_28, (0,0)))
beta_multiplier_resistor.add(gdstk.Reference(via_stack_3, (3.675,0.52)))
beta_multiplier_resistor.add(gdstk.Label('VSS', (0,-17.63), layer=8, texttype=2))
beta_multiplier_resistor.add(gdstk.Label('VR', (3.935,17.63), layer=10, texttype=2))

beta_multiplier = lib.new_cell('beta_multiplier')
R(beta_multiplier, Metal1, [(-9.455,-35.225,1.605,-34.925), (-3.64,-0.57,-1.46,-0.37), (-2.36,-0.185,-2.16,0.445), (-2.36,0.245,3.525,0.445), (-4.97,0.49,-3.12,0.69), (-19,13.735,-5.075,14.91)])
R(beta_multiplier, Metal1_pin, [(-18.875,-35.225,7.77,-34.925), (-11.765,13.735,-6.28,14.91)])
R(beta_multiplier, Metal2, [(-8.655,-12.815,-7.815,-12.615), (-3.645,-1.915,-3.355,-0.395), (-9.065,-1.35,-4.75,-1.115), (-2.36,-1.23,-2.16,-0.08), (-4.97,-1.06,-4.75,0.69), (-1.75,-0.565,7.4,-0.365), (3.325,0.245,3.525,0.855), (-3.395,0.49,-1.245,0.69), (1.575,8.105,7.805,8.305)])
R(beta_multiplier, Metal2_pin, [(7.535,8.105,7.805,8.305)])
R(beta_multiplier, NWell, [(-19.35,0.55,-3.445,15.26)])
beta_multiplier.add(gdstk.Reference(beta_multiplier_referanc, (-4.855,-18.005)))
beta_multiplier.add(gdstk.Reference(beta_multiplier_startup, (-13.74,-0.505)))
beta_multiplier.add(gdstk.Reference(beta_multiplier_mirror, (1.04,7.905)))
beta_multiplier.add(gdstk.Reference(beta_multiplier_resistor, (3.32,-17.625)))
beta_multiplier.add(gdstk.Reference(via_stack_3, (-4.865,0.59)))
beta_multiplier.add(gdstk.Reference(via_stack_3, (-3.25,0.59)))
beta_multiplier.add(gdstk.Reference(via_stack_3, (-2.26,-0.065)))
beta_multiplier.add(gdstk.Reference(via_stack_3, (-3.5,-1.815)))
beta_multiplier.add(gdstk.Reference(via_stack_3, (-1.605,-0.465)))
beta_multiplier.add(gdstk.Reference(via_stack_3, (-3.5,-0.465)))
beta_multiplier.add(gdstk.Reference(via_stack_3, (3.38,0.35)))
beta_multiplier.add(gdstk.Label('IOVDD', (-9.023,14.91), layer=8, texttype=2))
beta_multiplier.add(gdstk.Label('VSS', (-4.855,-35.225), layer=8, texttype=2))
beta_multiplier.add(gdstk.Label('VP', (7.805,8.205), layer=10, texttype=2))

lib.write_gds('beta_multiplier.gds')
